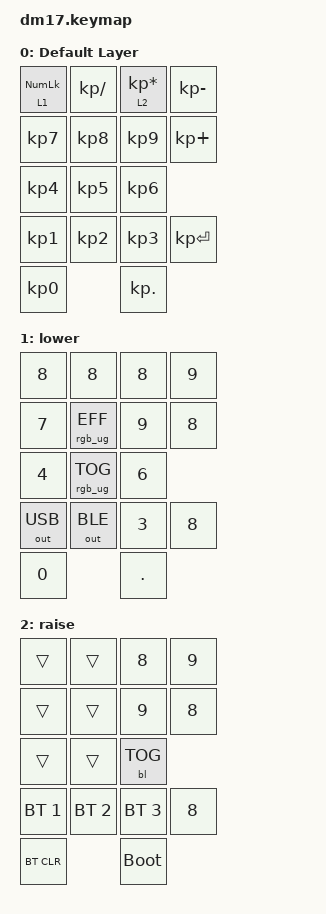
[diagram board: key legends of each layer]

/*
 * Copyright (c) 2020 The ZMK Contributors
 *
 * SPDX-License-Identifier: MIT
 */

#include <behaviors.dtsi>
#include <dt-bindings/zmk/keys.h>
#include <dt-bindings/zmk/rgb.h>
#include <dt-bindings/zmk/bt.h>
#include <dt-bindings/zmk/outputs.h>
#include <dt-bindings/zmk/ext_power.h>
#include <dt-bindings/zmk/backlight.h>

/{
        keymap0: keymap {
        compatible = "zmk,keymap";

        default_layer {
            display-name = "Default Layer";

            bindings = <
    &lt 1 KP_NUMLOCK    &kp KP_SLASH    &lt 2 KP_MULTIPLY       &kp KP_MINUS
    &kp KP_N7           &kp KP_N8       &kp KP_N9               &kp KP_PLUS
    &kp KP_N4           &kp KP_N5       &kp KP_N6
    &kp KP_N1           &kp KP_N2       &kp KP_N3           &kp KP_ENTER
    &kp KP_N0                       &kp KP_DOT
            >;
        };

        lower {

            bindings = <
    &kp N8              &kp N8          &kp N8              &kp N9
    &kp N7              &rgb_ug RGB_EFF &kp N9              &kp N8
    &kp N4              &rgb_ug RGB_TOG &kp N6
    &out OUT_USB        &out OUT_BLE    &kp N3              &kp N8
    &kp N0                              &kp DOT
            >;
        };

    raise   {

    bindings = <
    &trans              &trans          &kp N8              &kp N9
    &trans              &trans          &kp N9              &kp N8
    &trans              &trans          &bl BL_TOG
    &bt BT_SEL 1        &bt BT_SEL 2    &bt BT_SEL 3        &kp N8
    &bt BT_CLR                          &bootloader
                >;
            };
    };
 };
